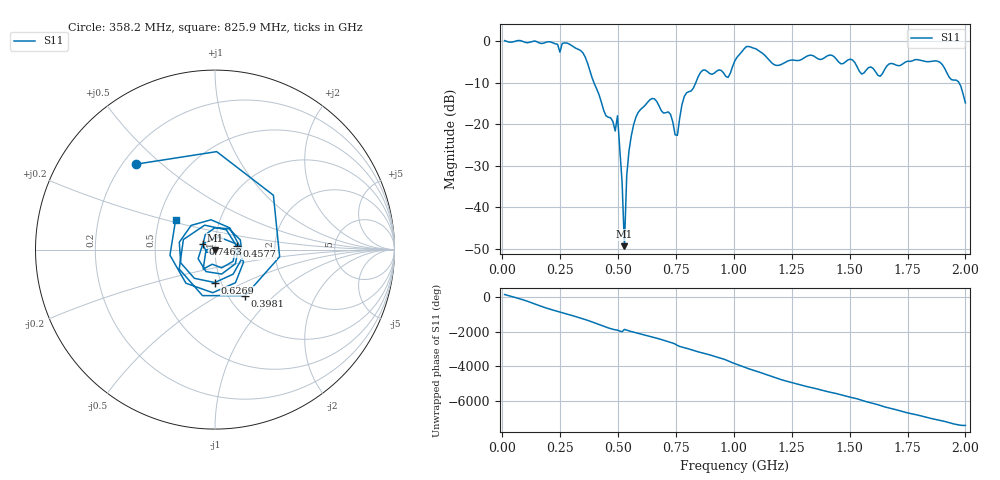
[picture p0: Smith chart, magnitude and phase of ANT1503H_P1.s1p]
!Created with skrf (http://scikit-rf.org).
# Hz S RI R 50.0
!freq ReS11 ImS11
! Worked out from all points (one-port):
!   201 points, 10 MHz to 2 GHz, reference 50 ohm
!   lowest |S11| = -49.4 dB at 527.4 MHz (marker M1), VSWR 1.01, Z = 50.1 - j0.332 ohm
!   |S11| at or under -10 dB: 396.2 MHz to 835.2 MHz (438.9 MHz wide, 71.3 % of centre); 1.973 GHz to end of sweep
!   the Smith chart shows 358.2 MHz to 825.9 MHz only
!   S11 on the Smith chart (normalised r, x): 358.2 MHz: 0.25, +0.42; 398.1 MHz: 1.20, -0.68; 457.8 MHz: 1.27, +0.05; 626.9 MHz: 0.93, -0.35; 746.3 MHz: 0.87, +0.06; 825.9 MHz: 0.61, +0.22
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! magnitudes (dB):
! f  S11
! 10 MHz  0.2
! 258.8 MHz  -0.5
! 358.2 MHz  -3.8
! 398.1 MHz  -10.3
! 457.8 MHz  -18.3
! 487.6 MHz  -21.6
! 497.6 MHz  -17.9
! 507.5 MHz  -25.9
! 517.5 MHz  -34.1
! 527.4 MHz  -49.4
! 537.4 MHz  -32.4
! 557.2 MHz  -22.7
! 626.9 MHz  -14.7
! 726.4 MHz  -17.6
! 746.3 MHz  -22.5
! 756.2 MHz  -22.6
! 786.1 MHz  -13.3
! 825.9 MHz  -11.2
! 865.7 MHz  -7.0
! 975.1 MHz  -8.7
! 1.005 GHz  -4.6
! 1.055 GHz  -1.2
! 1.254 GHz  -4.5
! 1.502 GHz  -4.3
! 1.632 GHz  -8.4
! 1.751 GHz  -4.8
! 1.891 GHz  -5.0
! 2 GHz  -14.8
